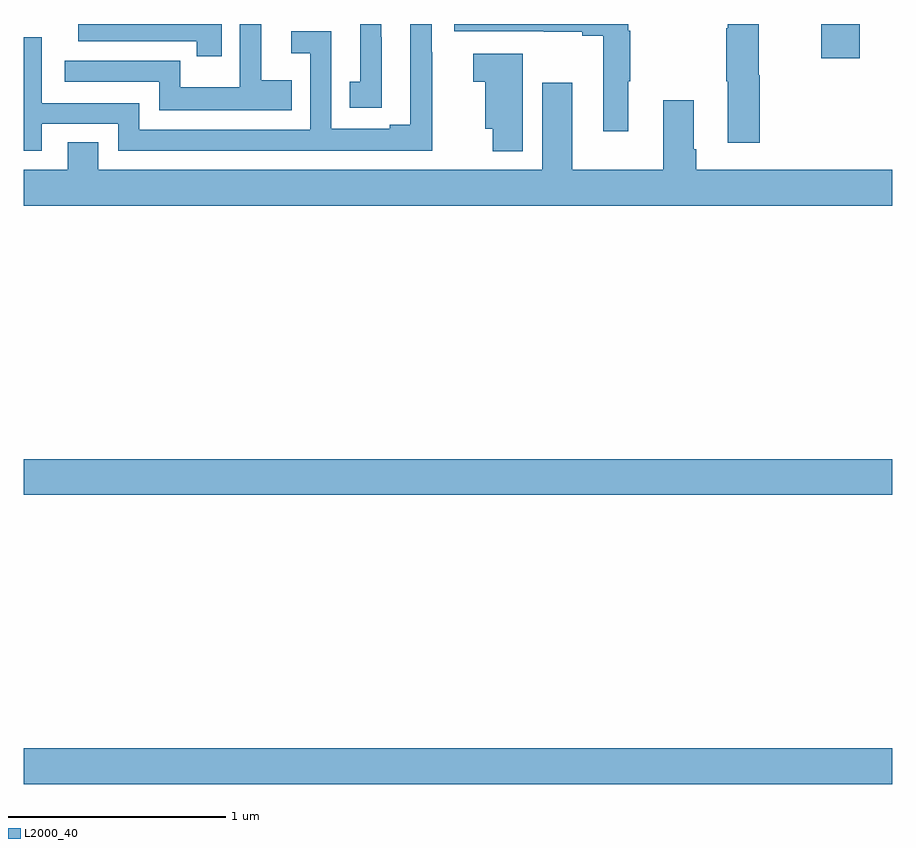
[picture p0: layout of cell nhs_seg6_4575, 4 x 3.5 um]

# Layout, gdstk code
import gdstk
lib = gdstk.Library(unit=1e-6, precision=1e-09)
def R(c, l, rs):  # rectangles x0, y0, x1, y1
    for r in rs: c.add(gdstk.rectangle(r[:2], r[2:], *l))
def P(c, l, *ps):  # polygons
    for p in ps: c.add(gdstk.Polygon(p, *l))
L2000_40 = (2000, 40)

nhs_seg6_4575 = lib.new_cell('nhs_seg6_4575')
R(nhs_seg6_4575, L2000_40, [(381,950,385,950.164), (381,951.332,385,951.496), (384.673,953.343,384.851,953.5)])
P(nhs_seg6_4575, L2000_40, [(382.881,953.369),(382.878,953.369),(382.878,953.5),(382.781,953.5),(382.781,953.035),(382.685,953.035),(382.685,953.017),(382.416,953.017),(382.416,953.467),(382.233,953.467),(382.233,953.366),(382.32,953.366),(382.32,953.013),(381.531,953.013),(381.531,953.136),(381.084,953.136),(381.084,953.44),(381,953.44),(381,952.917),(381.084,952.917),(381.084,953.04),(381.435,953.04),(381.435,952.917),(382.423,952.917),(382.423,952.916),(382.881,952.916)],
  [(383.785,953.236),(383.793,953.236),(383.793,953.469),(383.785,953.469),(383.785,953.5),(382.983,953.5),(382.983,953.466),(383.395,953.466),(383.395,953.464),(383.573,953.464),(383.573,953.446),(383.669,953.446),(383.669,953.007),(383.785,953.007)],
  [(384.389,953.265),(384.384,953.265),(384.384,953.5),(384.242,953.5),(384.242,953.48),(384.235,953.48),(384.235,953.236),(384.242,953.236),(384.242,952.953),(384.389,952.953)],
  [(382.235,953.242),(382.093,953.242),(382.093,953.5),(381.996,953.5),(381.996,953.209),(381.72,953.209),(381.72,953.33),(381.617,953.33),(381.617,953.331),(381.189,953.331),(381.189,953.235),(381.624,953.235),(381.624,953.102),(382.235,953.102)],
  [(381.911,953.5),(381.251,953.5),(381.251,953.421),(381.798,953.421),(381.798,953.352),(381.911,953.352)],
  [(382.648,953.438),(382.647,953.438),(382.647,953.5),(382.55,953.5),(382.55,953.235),(382.501,953.235),(382.501,953.115),(382.648,953.115)],
  [(383.299,953.362),(383.07,953.362),(383.07,953.233),(383.126,953.233),(383.126,953.018),(383.159,953.018),(383.159,952.913),(383.299,952.913)],
  [(385,952.828),(384.098,952.828),(384.098,952.924),(384.085,952.924),(384.085,953.149),(383.945,953.149),(383.945,952.828),(383.527,952.828),(383.527,953.23),(383.387,953.23),(383.387,952.828),(381.343,952.828),(381.343,952.955),(381.203,952.955),(381.203,952.828),(381,952.828),(381,952.664),(385,952.664)])

lib.write_gds('nhs_seg6_4575.gds')
